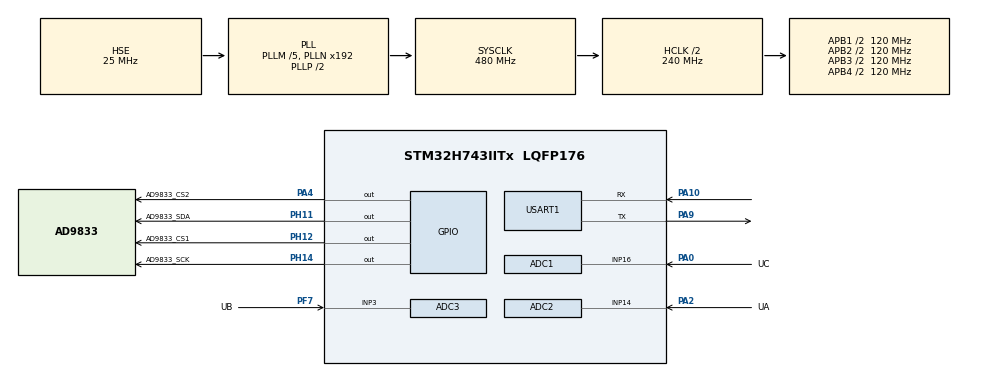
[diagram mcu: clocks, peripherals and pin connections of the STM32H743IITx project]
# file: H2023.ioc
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ADC1.Channel-0\#ChannelRegularConversion=ADC_CHANNEL_16
ADC1.ConversionDataManagement=ADC_CONVERSIONDATA_DMA_ONESHOT
ADC1.ExternalTrigConv=ADC_EXTERNALTRIG_T3_TRGO
ADC1.NbrOfConversionFlag=1
ADC1.OffsetNumber-0\#ChannelRegularConversion=ADC_OFFSET_NONE
ADC1.OffsetSignedSaturation-0\#ChannelRegularConversion=DISABLE
ADC1.Rank-0\#ChannelRegularConversion=1
ADC1.SamplingTime-0\#ChannelRegularConversion=ADC_SAMPLETIME_1CYCLE_5
ADC1.master=1
ADC2.Channel-0\#ChannelRegularConversion=ADC_CHANNEL_14
ADC2.ConversionDataManagement=ADC_CONVERSIONDATA_DMA_ONESHOT
ADC2.ExternalTrigConv=ADC_EXTERNALTRIG_T3_TRGO
ADC2.NbrOfConversionFlag=1
ADC2.OffsetNumber-0\#ChannelRegularConversion=ADC_OFFSET_NONE
ADC2.OffsetSignedSaturation-0\#ChannelRegularConversion=DISABLE
ADC2.Rank-0\#ChannelRegularConversion=1
ADC2.SamplingTime-0\#ChannelRegularConversion=ADC_SAMPLETIME_1CYCLE_5
ADC3.Channel-1\#ChannelRegularConversion=ADC_CHANNEL_3
ADC3.ConversionDataManagement=ADC_CONVERSIONDATA_DMA_ONESHOT
ADC3.ExternalTrigConv=ADC_EXTERNALTRIG_T3_TRGO
ADC3.NbrOfConversionFlag=1
ADC3.OffsetNumber-1\#ChannelRegularConversion=ADC_OFFSET_NONE
ADC3.OffsetSignedSaturation-1\#ChannelRegularConversion=DISABLE
ADC3.Rank-1\#ChannelRegularConversion=1
ADC3.SamplingTime-1\#ChannelRegularConversion=ADC_SAMPLETIME_1CYCLE_5
Dma.ADC1.0.Direction=DMA_PERIPH_TO_MEMORY
Dma.ADC1.0.EventEnable=DISABLE
Dma.ADC1.0.FIFOMode=DMA_FIFOMODE_DISABLE
Dma.ADC1.0.Instance=DMA1_Stream0
Dma.ADC1.0.MemDataAlignment=DMA_MDATAALIGN_HALFWORD
Dma.ADC1.0.MemInc=DMA_MINC_ENABLE
Dma.ADC1.0.Mode=DMA_NORMAL
Dma.ADC1.0.PeriphDataAlignment=DMA_PDATAALIGN_HALFWORD
Dma.ADC1.0.PeriphInc=DMA_PINC_DISABLE
Dma.ADC1.0.Polarity=HAL_DMAMUX_REQ_GEN_RISING
Dma.ADC1.0.Priority=DMA_PRIORITY_LOW
Dma.ADC1.0.RequestNumber=1
Dma.ADC1.0.SignalID=NONE
Dma.ADC1.0.SyncEnable=DISABLE
Dma.ADC1.0.SyncPolarity=HAL_DMAMUX_SYNC_NO_EVENT
Dma.ADC1.0.SyncRequestNumber=1
Dma.ADC1.0.SyncSignalID=NONE
Dma.ADC2.1.Direction=DMA_PERIPH_TO_MEMORY
Dma.ADC2.1.EventEnable=DISABLE
Dma.ADC2.1.FIFOMode=DMA_FIFOMODE_DISABLE
Dma.ADC2.1.Instance=DMA1_Stream1
Dma.ADC2.1.MemDataAlignment=DMA_MDATAALIGN_HALFWORD
Dma.ADC2.1.MemInc=DMA_MINC_ENABLE
Dma.ADC2.1.Mode=DMA_NORMAL
Dma.ADC2.1.PeriphDataAlignment=DMA_PDATAALIGN_HALFWORD
Dma.ADC2.1.PeriphInc=DMA_PINC_DISABLE
Dma.ADC2.1.Polarity=HAL_DMAMUX_REQ_GEN_RISING
Dma.ADC2.1.Priority=DMA_PRIORITY_LOW
Dma.ADC2.1.RequestNumber=1
Dma.ADC2.1.SignalID=NONE
Dma.ADC2.1.SyncEnable=DISABLE
Dma.ADC2.1.SyncPolarity=HAL_DMAMUX_SYNC_NO_EVENT
Dma.ADC2.1.SyncRequestNumber=1
Dma.ADC2.1.SyncSignalID=NONE
Dma.ADC3.2.Direction=DMA_PERIPH_TO_MEMORY
Dma.ADC3.2.EventEnable=DISABLE
Dma.ADC3.2.FIFOMode=DMA_FIFOMODE_DISABLE
Dma.ADC3.2.Instance=DMA1_Stream3
Dma.ADC3.2.MemDataAlignment=DMA_MDATAALIGN_HALFWORD
Dma.ADC3.2.MemInc=DMA_MINC_ENABLE
Dma.ADC3.2.Mode=DMA_NORMAL
Dma.ADC3.2.PeriphDataAlignment=DMA_PDATAALIGN_HALFWORD
Dma.ADC3.2.PeriphInc=DMA_PINC_DISABLE
Dma.ADC3.2.Polarity=HAL_DMAMUX_REQ_GEN_RISING
Dma.ADC3.2.Priority=DMA_PRIORITY_LOW
Dma.ADC3.2.RequestNumber=1
Dma.ADC3.2.SignalID=NONE
Dma.ADC3.2.SyncEnable=DISABLE
Dma.ADC3.2.SyncPolarity=HAL_DMAMUX_SYNC_NO_EVENT
Dma.ADC3.2.SyncRequestNumber=1
Dma.ADC3.2.SyncSignalID=NONE
Dma.Request0=ADC1
Dma.Request1=ADC2
Dma.Request2=ADC3
Mcu.Family=STM32H7
Mcu.Name=STM32H743IITx
Mcu.Package=LQFP176
NVIC.DMA1_Stream0_IRQn=true\:0\:0\:false\:false\:true\:false\:true
NVIC.DMA1_Stream1_IRQn=true\:0\:0\:false\:false\:true\:false\:true
NVIC.DMA1_Stream3_IRQn=true\:0\:0\:false\:false\:true\:false\:true
NVIC.PriorityGroup=NVIC_PRIORITYGROUP_4
NVIC.USART1_IRQn=true\:0\:0\:false\:false\:true\:true\:true
PA0.GPIO_Label=UC
PA0.Mode=IN16-Single-Ended
PA0.Signal=ADC1_INP16
PA10.Mode=Asynchronous
PA10.Signal=USART1_RX
PA13\ (JTMS/SWDIO).Mode=Serial_Wire
PA13\ (JTMS/SWDIO).Signal=DEBUG_JTMS-SWDIO
PA14\ (JTCK/SWCLK).Mode=Serial_Wire
PA14\ (JTCK/SWCLK).Signal=DEBUG_JTCK-SWCLK
PA2.GPIO_Label=UA
PA2.Signal=ADCx_INP14
PA4.GPIO_Label=AD9833_CS2
PA4.PinState=GPIO_PIN_SET
PA4.Signal=GPIO_Output
PA9.Mode=Asynchronous
PA9.Signal=USART1_TX
PC14-OSC32_IN\ (OSC32_IN).Mode=LSE-External-Oscillator
PC14-OSC32_IN\ (OSC32_IN).Signal=RCC_OSC32_IN
PC15-OSC32_OUT\ (OSC32_OUT).Mode=LSE-External-Oscillator
PC15-OSC32_OUT\ (OSC32_OUT).Signal=RCC_OSC32_OUT
PF7.GPIO_Label=UB
PF7.Mode=IN3-Single-Ended
PF7.Signal=ADC3_INP3
PH0-OSC_IN\ (PH0).Mode=HSE-External-Oscillator
PH0-OSC_IN\ (PH0).Signal=RCC_OSC_IN
PH1-OSC_OUT\ (PH1).Mode=HSE-External-Oscillator
PH1-OSC_OUT\ (PH1).Signal=RCC_OSC_OUT
PH11.GPIO_Label=AD9833_SDA
PH11.GPIO_Speed=GPIO_SPEED_FREQ_HIGH
PH11.PinState=GPIO_PIN_SET
PH11.Signal=GPIO_Output
PH12.GPIO_Label=AD9833_CS1
PH12.PinState=GPIO_PIN_SET
PH12.Signal=GPIO_Output
PH14.GPIO_Label=AD9833_SCK
PH14.GPIO_Speed=GPIO_SPEED_FREQ_HIGH
PH14.PinState=GPIO_PIN_SET
PH14.Signal=GPIO_Output
ProjectManager.HeapSize=0x200
ProjectManager.StackSize=0x400
ProjectManager.TargetToolchain=MDK-ARM V5
RCC.ADCFreq_Value=75000000
RCC.APB1Freq_Value=120000000
RCC.APB2Freq_Value=120000000
RCC.APB3Freq_Value=120000000
RCC.APB4Freq_Value=120000000
RCC.CortexFreq_Value=480000000
RCC.D1PPRE=RCC_APB3_DIV2
RCC.D2PPRE1=RCC_APB1_DIV2
RCC.D2PPRE2=RCC_APB2_DIV2
RCC.D3PPRE=RCC_APB4_DIV2
RCC.DIVM1=5
RCC.DIVM2=2
RCC.DIVN1=192
RCC.DIVN2=12
RCC.HCLKFreq_Value=240000000
RCC.HPRE=RCC_HCLK_DIV2
RCC.PLL2FRACN=0
RCC.PLL3FRACN=0
RCC.PLLFRACN=0
RCC.PLLSourceVirtual=RCC_PLLSOURCE_HSE
RCC.PWR_Regulator_Voltage_Scale=PWR_REGULATOR_VOLTAGE_SCALE0
RCC.SYSCLKFreq_VALUE=480000000
RCC.SYSCLKSource=RCC_SYSCLKSOURCE_PLLCLK
RCC.USBFreq_Value=480000000
SH.ADCx_INP14.0=ADC2_INP14,IN14-Single-Ended
TIM3.Period=234-1
TIM3.TIM_MasterOutputTrigger=TIM_TRGO_UPDATE
USART1.VirtualMode-Asynchronous=VM_ASYNC
VP_TIM3_VS_ClockSourceINT.Mode=Internal
board=custom

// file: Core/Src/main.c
/* USER CODE BEGIN Header */
/**
 ******************************************************************************
 * @file           : main.c
 * @brief          : Main program body
 ******************************************************************************
 * @attention
 *
 * <h2><center>&copy; Copyright (c) 2026 STMicroelectronics.
 * All rights reserved.</center></h2>
 *
 * This software component is licensed by ST under Ultimate Liberty license
 * SLA0044, the "License"; You may not use this file except in compliance with
 * the License. You may obtain a copy of the License at:
 *                             www.st.com/SLA0044
 *
 ******************************************************************************
 */
/* USER CODE END Header */
#include "main.h"
#include "adc.h"
#include "dma.h"
#include "gpio.h"
#include "tim.h"
#include "usart.h"

/* USER CODE BEGIN Includes */
#include "FFT.h"
#include "HMI.h"
#include "calculate.h"
#include "math.h"
#include "usart_deal.h"
#include "AD9833.h"
#include "log.h"
/* USER CODE END Includes */

/* USER CODE BEGIN PV */
#define ADC_LEN 1024
uint16_t ADC_UA[ADC_LEN] = {0};
uint16_t ADC_UB[ADC_LEN] = {0};
uint16_t ADC_UC[ADC_LEN] = {0};

volatile uint8_t ADC_Flag = 0;
static volatile uint8_t adc1_done = 0;
static volatile uint8_t adc2_done = 0;
static volatile uint8_t adc3_done = 0;
/* USER CODE END PV */

void SystemClock_Config(void);
void PeriphCommonClock_Config(void);

int main(void)
{

    /* MCU Configuration--------------------------------------------------------*/

    /* Reset of all peripherals, Initializes the Flash interface and the Systick. */
    HAL_Init();

    /* Configure the system clock */
    SystemClock_Config();

    /* Configure the peripherals common clocks */
    PeriphCommonClock_Config();

    /* Initialize all configured peripherals */
    MX_GPIO_Init();
    MX_DMA_Init();
    MX_ADC1_Init();
    MX_ADC2_Init();
    MX_ADC3_Init();
    MX_TIM3_Init();
    MX_USART1_UART_Init();
    /* USER CODE BEGIN 2 */
    HAL_ADCEx_Calibration_Start(&hadc1, ADC_CALIB_OFFSET, ADC_SINGLE_ENDED);
    HAL_ADCEx_Calibration_Start(&hadc2, ADC_CALIB_OFFSET, ADC_SINGLE_ENDED);
    HAL_ADCEx_Calibration_Start(&hadc3, ADC_CALIB_OFFSET, ADC_SINGLE_ENDED);
    HAL_ADC_Start_DMA(&hadc1, (uint32_t *)ADC_UC, ADC_LEN);
    HAL_ADC_Start_DMA(&hadc2, (uint32_t *)ADC_UB, ADC_LEN);
    HAL_ADC_Start_DMA(&hadc3, (uint32_t *)ADC_UA, ADC_LEN);
    HAL_TIM_Base_Start(&htim3);
    LOG_INFO("MAIN", "init done, sampling started");
    /* USER CODE END 2 */

    /* Infinite loop */
    /* USER CODE BEGIN WHILE */
    while (1)
    {
        if (ADC_Flag == 1)
        {
            ADC_Flag = 0;
            adc1_done = 0;
            adc2_done = 0;
            adc3_done = 0;
            test();

            HAL_ADC_Start_DMA(&hadc1, (uint32_t *)ADC_UA, ADC_LEN);
            HAL_ADC_Start_DMA(&hadc2, (uint32_t *)ADC_UB, ADC_LEN);
            HAL_ADC_Start_DMA(&hadc3, (uint32_t *)ADC_UC, ADC_LEN);
            HAL_TIM_Base_Start(&htim3);
        }
        /* USER CODE END WHILE */

    }
}

void SystemClock_Config(void)
{
    RCC_OscInitTypeDef RCC_OscInitStruct = {0};
    RCC_ClkInitTypeDef RCC_ClkInitStruct = {0};

    /** Supply configuration update enable
     */
    HAL_PWREx_ConfigSupply(PWR_LDO_SUPPLY);
    /** Configure the main internal regulator output voltage
     */
    __HAL_PWR_VOLTAGESCALING_CONFIG(PWR_REGULATOR_VOLTAGE_SCALE0);

    while (!__HAL_PWR_GET_FLAG(PWR_FLAG_VOSRDY))
    {
    }
    /** Macro to configure the PLL clock source
     */
    __HAL_RCC_PLL_PLLSOURCE_CONFIG(RCC_PLLSOURCE_HSE);
    /** Initializes the RCC Oscillators according to the specified parameters
     * in the RCC_OscInitTypeDef structure.
     */
    RCC_OscInitStruct.OscillatorType = RCC_OSCILLATORTYPE_HSE;
    RCC_OscInitStruct.HSEState = RCC_HSE_ON;
    RCC_OscInitStruct.PLL.PLLState = RCC_PLL_ON;
    RCC_OscInitStruct.PLL.PLLSource = RCC_PLLSOURCE_HSE;
    RCC_OscInitStruct.PLL.PLLM = 5;
    RCC_OscInitStruct.PLL.PLLN = 192;
    RCC_OscInitStruct.PLL.PLLP = 2;
    RCC_OscInitStruct.PLL.PLLQ = 2;
    RCC_OscInitStruct.PLL.PLLR = 2;
    RCC_OscInitStruct.PLL.PLLRGE = RCC_PLL1VCIRANGE_2;
    RCC_OscInitStruct.PLL.PLLVCOSEL = RCC_PLL1VCOWIDE;
    RCC_OscInitStruct.PLL.PLLFRACN = 0;
    if (HAL_RCC_OscConfig(&RCC_OscInitStruct) != HAL_OK)
    {
        Error_Handler();
    }
    /** Initializes the CPU, AHB and APB buses clocks
     */
    RCC_ClkInitStruct.ClockType = RCC_CLOCKTYPE_HCLK | RCC_CLOCKTYPE_SYSCLK | RCC_CLOCKTYPE_PCLK1 | RCC_CLOCKTYPE_PCLK2 | RCC_CLOCKTYPE_D3PCLK1 | RCC_CLOCKTYPE_D1PCLK1;
    RCC_ClkInitStruct.SYSCLKSource = RCC_SYSCLKSOURCE_PLLCLK;
    RCC_ClkInitStruct.SYSCLKDivider = RCC_SYSCLK_DIV1;
    RCC_ClkInitStruct.AHBCLKDivider = RCC_HCLK_DIV2;
    RCC_ClkInitStruct.APB3CLKDivider = RCC_APB3_DIV2;
    RCC_ClkInitStruct.APB1CLKDivider = RCC_APB1_DIV2;
    RCC_ClkInitStruct.APB2CLKDivider = RCC_APB2_DIV2;
    RCC_ClkInitStruct.APB4CLKDivider = RCC_APB4_DIV2;

    if (HAL_RCC_ClockConfig(&RCC_ClkInitStruct, FLASH_LATENCY_4) != HAL_OK)
    {
        Error_Handler();
    }
}

void PeriphCommonClock_Config(void)
{
    RCC_PeriphCLKInitTypeDef PeriphClkInitStruct = {0};

    /** Initializes the peripherals clock
     */
    PeriphClkInitStruct.PeriphClockSelection = RCC_PERIPHCLK_ADC;
    PeriphClkInitStruct.PLL2.PLL2M = 2;
    PeriphClkInitStruct.PLL2.PLL2N = 12;
    PeriphClkInitStruct.PLL2.PLL2P = 2;
    PeriphClkInitStruct.PLL2.PLL2Q = 2;
    PeriphClkInitStruct.PLL2.PLL2R = 2;
    PeriphClkInitStruct.PLL2.PLL2RGE = RCC_PLL2VCIRANGE_3;
    PeriphClkInitStruct.PLL2.PLL2VCOSEL = RCC_PLL2VCOMEDIUM;
    PeriphClkInitStruct.PLL2.PLL2FRACN = 0;
    PeriphClkInitStruct.AdcClockSelection = RCC_ADCCLKSOURCE_PLL2;
    if (HAL_RCCEx_PeriphCLKConfig(&PeriphClkInitStruct) != HAL_OK)
    {
        Error_Handler();
    }
}

/* USER CODE BEGIN 4 */
void HAL_ADC_ConvCpltCallback(ADC_HandleTypeDef *hadc)
{
    if (hadc == &hadc1)
    {
        HAL_ADC_Stop_DMA(hadc);
        adc1_done = 1U;
    }
    else if (hadc == &hadc2)
    {
        HAL_ADC_Stop_DMA(hadc);
        adc2_done = 1U;
    }
    else if (hadc == &hadc3)
    {
        HAL_ADC_Stop_DMA(hadc);
        adc3_done = 1U;
    }
    if (adc1_done == 1U && adc2_done == 1U && adc3_done == 1U)
    {
        ADC_Flag = 1U;
    }
}
/* USER CODE END 4 */

void Error_Handler(void)
{
    __disable_irq();
    while (1)
    {
    }
}

/************************ (C) COPYRIGHT STMicroelectronics *****END OF FILE****/
